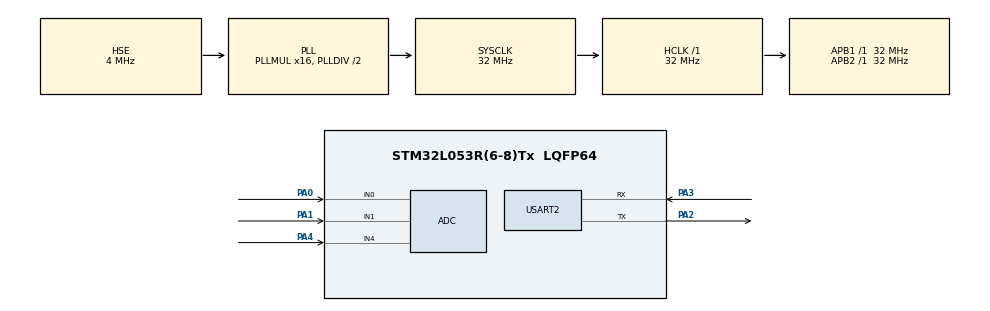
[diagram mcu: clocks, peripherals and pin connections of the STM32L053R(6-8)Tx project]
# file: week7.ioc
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ADC.ContinuousConvMode=ENABLE
Mcu.Family=STM32L0
Mcu.Name=STM32L053R(6-8)Tx
Mcu.Package=LQFP64
PA0.Mode=IN0
PA0.Signal=ADC_IN0
PA1.Mode=IN1
PA1.Signal=ADC_IN1
PA13.Mode=Serial_Wire
PA13.Signal=SYS_SWDIO
PA14.Mode=Serial_Wire
PA14.Signal=SYS_SWCLK
PA2.Mode=Asynchronous
PA2.Signal=USART2_TX
PA3.Mode=Asynchronous
PA3.Signal=USART2_RX
PA4.Mode=IN4
PA4.Signal=ADC_IN4
PH0-OSC_IN.Mode=HSE-External-Oscillator
PH0-OSC_IN.Signal=RCC_OSC_IN
PH1-OSC_OUT.Mode=HSE-External-Oscillator
PH1-OSC_OUT.Signal=RCC_OSC_OUT
ProjectManager.HeapSize=0x200
ProjectManager.StackSize=0x400
ProjectManager.TargetToolchain=MDK-ARM V5.27
RCC.AHBFreq_Value=32000000
RCC.APB1Freq_Value=32000000
RCC.APB1TimFreq_Value=32000000
RCC.APB2Freq_Value=32000000
RCC.APB2TimFreq_Value=32000000
RCC.HCLKFreq_Value=32000000
RCC.HSE_VALUE=4000000
RCC.HSI16_VALUE=16000000
RCC.HSI48_VALUE=48000000
RCC.HSI_VALUE=16000000
RCC.LSE_VALUE=32768
RCC.MSI_VALUE=2097000
RCC.PLLMUL=RCC_PLLMUL_16
RCC.PLLSourceVirtual=RCC_PLLSOURCE_HSE
RCC.SYSCLKFreq_VALUE=32000000
RCC.SYSCLKSource=RCC_SYSCLKSOURCE_PLLCLK
RCC.VCOOutputFreq_Value=64000000
USART2.VirtualMode-Asynchronous=VM_ASYNC
board=custom

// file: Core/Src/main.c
/* USER CODE BEGIN Header */
/**
  ******************************************************************************
  * @file           : main.c
  * @brief          : Main program body
  ******************************************************************************
  * @attention
  *
  * <h2><center>&copy; Copyright (c) 2021 STMicroelectronics.
  * All rights reserved.</center></h2>
  *
  * This software component is licensed by ST under BSD 3-Clause license,
  * the "License"; You may not use this file except in compliance with the
  * License. You may obtain a copy of the License at:
  *                        opensource.org/licenses/BSD-3-Clause
  *
  ******************************************************************************
  */
/* USER CODE END Header */
#include "main.h"
#include "adc.h"
#include "usart.h"
#include "gpio.h"

/* USER CODE BEGIN Includes */
#include <stdio.h>
#include <math.h>
/* USER CODE END Includes */

void SystemClock_Config(void);

/* USER CODE BEGIN 0 */
int fputc(int ch, FILE *f) {
  uint8_t temp[1] = {ch};
  HAL_UART_Transmit(&huart2, temp, 1, 2);
  return ch;
}
/* USER CODE END 0 */

int main(void)
{

  /* MCU Configuration--------------------------------------------------------*/

  /* Reset of all peripherals, Initializes the Flash interface and the Systick. */
  HAL_Init();

  /* Configure the system clock */
  SystemClock_Config();

  /* Initialize all configured peripherals */
  MX_GPIO_Init();
  MX_ADC_Init();
  MX_USART2_UART_Init();

  /* Infinite loop */
  /* USER CODE BEGIN WHILE */
  uint32_t x_value, y_value, z_value;
  float x_G, y_G, z_G;
  while (1)
  {
    HAL_ADC_Start(&hadc);
    HAL_ADC_PollForConversion(&hadc, 1000);

    x_value = HAL_ADC_GetValue(&hadc);
    y_value = HAL_ADC_GetValue(&hadc);
    z_value = HAL_ADC_GetValue(&hadc);
    x_G = x_value*6.0/4096-3;
    y_G = y_value*6.0/4096-3;
    z_G = z_value*6.0/4096-3;
    printf("VALUE:%d %d %d\r\n", x_value, y_value, z_value);
    printf("G:%.2f %.2f %.2f\r\n", x_G, y_G, z_G);
    printf("DEGREE:%.2f\r\n\r\n", atan2(x_G, y_G)*180/3.14159265);
    HAL_ADC_Stop(&hadc);
    HAL_Delay(500);
    /* USER CODE END WHILE */

  }
}

void SystemClock_Config(void)
{
  RCC_OscInitTypeDef RCC_OscInitStruct = {0};
  RCC_ClkInitTypeDef RCC_ClkInitStruct = {0};
  RCC_PeriphCLKInitTypeDef PeriphClkInit = {0};

  /** Configure the main internal regulator output voltage
  */
  __HAL_PWR_VOLTAGESCALING_CONFIG(PWR_REGULATOR_VOLTAGE_SCALE1);
  /** Initializes the RCC Oscillators according to the specified parameters
  * in the RCC_OscInitTypeDef structure.
  */
  RCC_OscInitStruct.OscillatorType = RCC_OSCILLATORTYPE_HSE;
  RCC_OscInitStruct.HSEState = RCC_HSE_ON;
  RCC_OscInitStruct.PLL.PLLState = RCC_PLL_ON;
  RCC_OscInitStruct.PLL.PLLSource = RCC_PLLSOURCE_HSE;
  RCC_OscInitStruct.PLL.PLLMUL = RCC_PLLMUL_16;
  RCC_OscInitStruct.PLL.PLLDIV = RCC_PLLDIV_2;
  if (HAL_RCC_OscConfig(&RCC_OscInitStruct) != HAL_OK)
  {
    Error_Handler();
  }
  /** Initializes the CPU, AHB and APB buses clocks
  */
  RCC_ClkInitStruct.ClockType = RCC_CLOCKTYPE_HCLK|RCC_CLOCKTYPE_SYSCLK
                              |RCC_CLOCKTYPE_PCLK1|RCC_CLOCKTYPE_PCLK2;
  RCC_ClkInitStruct.SYSCLKSource = RCC_SYSCLKSOURCE_PLLCLK;
  RCC_ClkInitStruct.AHBCLKDivider = RCC_SYSCLK_DIV1;
  RCC_ClkInitStruct.APB1CLKDivider = RCC_HCLK_DIV1;
  RCC_ClkInitStruct.APB2CLKDivider = RCC_HCLK_DIV1;

  if (HAL_RCC_ClockConfig(&RCC_ClkInitStruct, FLASH_LATENCY_1) != HAL_OK)
  {
    Error_Handler();
  }
  PeriphClkInit.PeriphClockSelection = RCC_PERIPHCLK_USART2;
  PeriphClkInit.Usart2ClockSelection = RCC_USART2CLKSOURCE_PCLK1;
  if (HAL_RCCEx_PeriphCLKConfig(&PeriphClkInit) != HAL_OK)
  {
    Error_Handler();
  }
}

void Error_Handler(void)
{
  __disable_irq();
  while (1)
  {
  }
}

/************************ (C) COPYRIGHT STMicroelectronics *****END OF FILE****/
